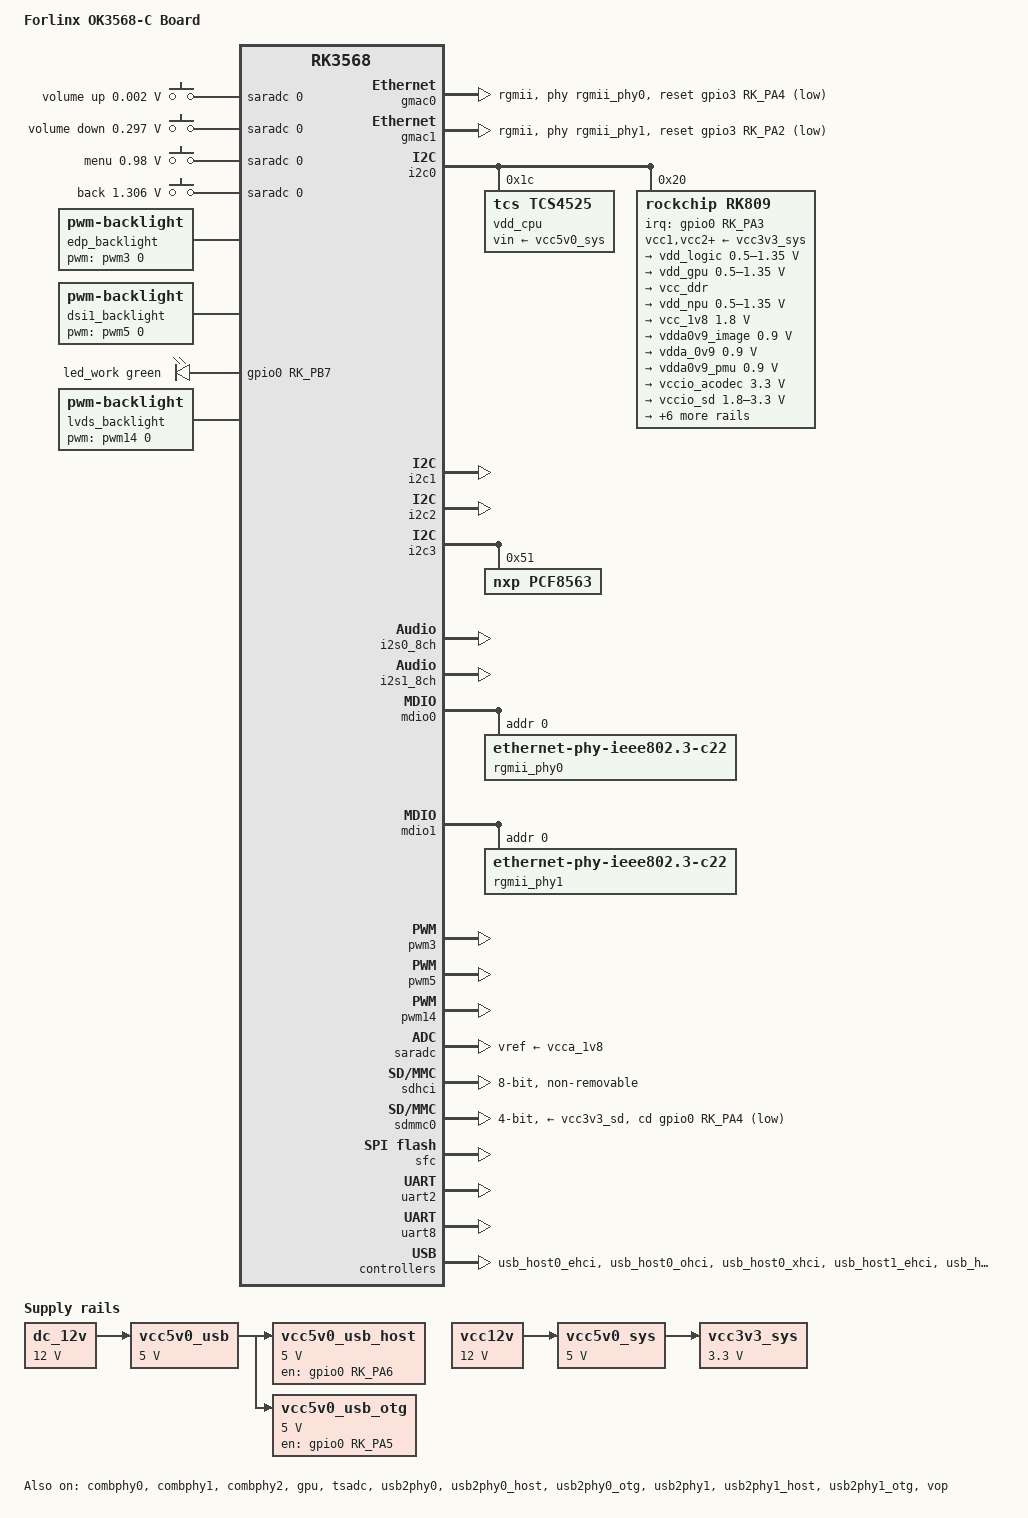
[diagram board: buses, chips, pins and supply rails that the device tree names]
// SPDX-License-Identifier: (GPL-2.0+ OR MIT)
/*
 * Device Tree file for Forlinx OK3568-C Board
 *
 * Based on rk3568-evb1-v10.dts
 */

/dts-v1/;

#include <dt-bindings/gpio/gpio.h>
#include <dt-bindings/input/linux-event-codes.h>
#include <dt-bindings/leds/common.h>
#include <dt-bindings/pinctrl/rockchip.h>
#include <dt-bindings/soc/rockchip,vop2.h>
#include "rk3568.dtsi"

/ {
	model = "Forlinx OK3568-C Board";
	compatible = "forlinx,ok3568", "rockchip,rk3568";

	aliases {
		ethernet0 = &gmac0;
		ethernet1 = &gmac1;
		mmc0 = &sdhci;
		serial2 = &uart2;
	};

	chosen: chosen {
		stdout-path = "serial2:115200n8";
	};

	adc_keys: adc-keys {
		compatible = "adc-keys";
		io-channels = <&saradc 0>;
		io-channel-names = "buttons";
		keyup-threshold-microvolt = <1800000>;
		poll-interval = <100>;

		vol-up-key {
			label = "volume up";
			linux,code = <KEY_VOLUMEUP>;
			press-threshold-microvolt = <1750>;
		};

		vol-down-key {
			label = "volume down";
			linux,code = <KEY_VOLUMEDOWN>;
			press-threshold-microvolt = <297500>;
		};

		menu-key {
			label = "menu";
			linux,code = <KEY_MENU>;
			press-threshold-microvolt = <980000>;
		};

		back-key {
			label = "back";
			linux,code = <KEY_BACK>;
			press-threshold-microvolt = <1305500>;
		};
	};

	dc_12v: regulator-dc-12v {
		compatible = "regulator-fixed";
		regulator-name = "dc_12v";
		regulator-always-on;
		regulator-boot-on;
		regulator-min-microvolt = <12000000>;
		regulator-max-microvolt = <12000000>;
	};

	edp_backlight: edp-backlight {
		compatible = "pwm-backlight";
		pwms = <&pwm3 0 20000 0>;
		brightness-levels = <0 20 20 21 21 22 22 23
				     23 24 24 25 25 26 26 27
				     27 28 28 29 29 30 30 31
				     31 32 32 33 33 34 34 35
				     35 36 36 37 37 38 38 39
				     40 41 42 43 44 45 46 47
				     48 49 50 51 52 53 54 55
				     56 57 58 59 60 61 62 63
				     64 65 66 67 68 69 70 71
				     72 73 74 75 76 77 78 79
				     80 81 82 83 84 85 86 87
				     88 89 90 91 92 93 94 95
				     96 97 98 99 100 101 102 103
				     104 105 106 107 108 109 110 111
				     112 113 114 115 116 117 118 119
				     120 121 122 123 124 125 126 127
				     128 129 130 131 132 133 134 135
				     136 137 138 139 140 141 142 143
				     144 145 146 147 148 149 150 151
				     152 153 154 155 156 157 158 159
				     160 161 162 163 164 165 166 167
				     168 169 170 171 172 173 174 175
				     176 177 178 179 180 181 182 183
				     184 185 186 187 188 189 190 191
				     192 193 194 195 196 197 198 199
				     200 201 202 203 204 205 206 207
				     208 209 210 211 212 213 214 215
				     216 217 218 219 220 221 222 223
				     224 225 226 227 228 229 230 231
				     232 233 234 235 236 237 238 239
				     240 241 242 243 244 245 246 247
				     248 249 250 251 252 253 254 255>;
		default-brightness-level = <200>;
	};

	dsi1_backlight: dsi1-backlight {
		compatible = "pwm-backlight";
		pwms = <&pwm5 0 20000 0>;
		brightness-levels = <0 20 20 21 21 22 22 23
				     23 24 24 25 25 26 26 27
				     27 28 28 29 29 30 30 31
				     31 32 32 33 33 34 34 35
				     35 36 36 37 37 38 38 39
				     40 41 42 43 44 45 46 47
				     48 49 50 51 52 53 54 55
				     56 57 58 59 60 61 62 63
				     64 65 66 67 68 69 70 71
				     72 73 74 75 76 77 78 79
				     80 81 82 83 84 85 86 87
				     88 89 90 91 92 93 94 95
				     96 97 98 99 100 101 102 103
				     104 105 106 107 108 109 110 111
				     112 113 114 115 116 117 118 119
				     120 121 122 123 124 125 126 127
				     128 129 130 131 132 133 134 135
				     136 137 138 139 140 141 142 143
				     144 145 146 147 148 149 150 151
				     152 153 154 155 156 157 158 159
				     160 161 162 163 164 165 166 167
				     168 169 170 171 172 173 174 175
				     176 177 178 179 180 181 182 183
				     184 185 186 187 188 189 190 191
				     192 193 194 195 196 197 198 199
				     200 201 202 203 204 205 206 207
				     208 209 210 211 212 213 214 215
				     216 217 218 219 220 221 222 223
				     224 225 226 227 228 229 230 231
				     232 233 234 235 236 237 238 239
				     240 241 242 243 244 245 246 247
				     248 249 250 251 252 253 254 255>;
		default-brightness-level = <200>;
	};

	leds {
		compatible = "gpio-leds";

		led_work: led-0 {
			gpios = <&gpio0 RK_PB7 GPIO_ACTIVE_HIGH>;
			function = LED_FUNCTION_HEARTBEAT;
			color = <LED_COLOR_ID_GREEN>;
			linux,default-trigger = "heartbeat";
			pinctrl-names = "default";
			pinctrl-0 = <&led_work_en>;
		};
	};

	lvds_backlight: lvds-backlight {
		compatible = "pwm-backlight";
		pwms = <&pwm14 0 20000 0>;
		brightness-levels = <0 20 20 21 21 22 22 23
				     23 24 24 25 25 26 26 27
				     27 28 28 29 29 30 30 31
				     31 32 32 33 33 34 34 35
				     35 36 36 37 37 38 38 39
				     40 41 42 43 44 45 46 47
				     48 49 50 51 52 53 54 55
				     56 57 58 59 60 61 62 63
				     64 65 66 67 68 69 70 71
				     72 73 74 75 76 77 78 79
				     80 81 82 83 84 85 86 87
				     88 89 90 91 92 93 94 95
				     96 97 98 99 100 101 102 103
				     104 105 106 107 108 109 110 111
				     112 113 114 115 116 117 118 119
				     120 121 122 123 124 125 126 127
				     128 129 130 131 132 133 134 135
				     136 137 138 139 140 141 142 143
				     144 145 146 147 148 149 150 151
				     152 153 154 155 156 157 158 159
				     160 161 162 163 164 165 166 167
				     168 169 170 171 172 173 174 175
				     176 177 178 179 180 181 182 183
				     184 185 186 187 188 189 190 191
				     192 193 194 195 196 197 198 199
				     200 201 202 203 204 205 206 207
				     208 209 210 211 212 213 214 215
				     216 217 218 219 220 221 222 223
				     224 225 226 227 228 229 230 231
				     232 233 234 235 236 237 238 239
				     240 241 242 243 244 245 246 247
				     248 249 250 251 252 253 254 255>;
		default-brightness-level = <200>;
	};

	rk809-sound {
		compatible = "simple-audio-card";
		simple-audio-card,format = "i2s";
		simple-audio-card,name = "Analog RK809";
		simple-audio-card,mclk-fs = <256>;

		simple-audio-card,cpu {
			sound-dai = <&i2s1_8ch>;
		};
		simple-audio-card,codec {
			sound-dai = <&rk809>;
		};
	};

	vcc12v: regulator-vcc12v {
		compatible = "regulator-fixed";
		regulator-name = "vcc12v";
		regulator-always-on;
		regulator-boot-on;
		regulator-min-microvolt = <12000000>;
		regulator-max-microvolt = <12000000>;
	};

	vcc3v3_sys: regulator-vcc3v3-sys {
		compatible = "regulator-fixed";
		regulator-name = "vcc3v3_sys";
		regulator-always-on;
		regulator-boot-on;
		regulator-min-microvolt = <3300000>;
		regulator-max-microvolt = <3300000>;
		vin-supply = <&vcc5v0_sys>;
	};

	vcc5v0_sys: regulator-vcc5v0-sys {
		compatible = "regulator-fixed";
		regulator-name = "vcc5v0_sys";
		regulator-always-on;
		regulator-boot-on;
		regulator-min-microvolt = <5000000>;
		regulator-max-microvolt = <5000000>;
		vin-supply = <&vcc12v>;
	};

	vcc5v0_usb: regulator-vcc5v0-usb {
		compatible = "regulator-fixed";
		regulator-name = "vcc5v0_usb";
		regulator-always-on;
		regulator-boot-on;
		regulator-min-microvolt = <5000000>;
		regulator-max-microvolt = <5000000>;
		vin-supply = <&dc_12v>;
	};

	vcc5v0_usb_host: regulator-vcc5v0-usb-host {
		compatible = "regulator-fixed";
		enable-active-high;
		gpio = <&gpio0 RK_PA6 GPIO_ACTIVE_HIGH>;
		pinctrl-names = "default";
		pinctrl-0 = <&vcc5v0_usb_host_en>;
		regulator-name = "vcc5v0_usb_host";
		regulator-min-microvolt = <5000000>;
		regulator-max-microvolt = <5000000>;
		vin-supply = <&vcc5v0_usb>;
	};

	vcc5v0_usb_otg: regulator-vcc5v0-usb-otg {
		compatible = "regulator-fixed";
		enable-active-high;
		gpio = <&gpio0 RK_PA5 GPIO_ACTIVE_HIGH>;
		pinctrl-names = "default";
		pinctrl-0 = <&vcc5v0_usb_otg_en>;
		regulator-name = "vcc5v0_usb_otg";
		regulator-min-microvolt = <5000000>;
		regulator-max-microvolt = <5000000>;
		vin-supply = <&vcc5v0_usb>;
	};
};

&combphy0 {
	status = "okay";
};

&combphy1 {
	status = "okay";
};

&combphy2 {
	status = "okay";
};

&cpu0 {
	cpu-supply = <&vdd_cpu>;
};

&cpu1 {
	cpu-supply = <&vdd_cpu>;
};

&cpu2 {
	cpu-supply = <&vdd_cpu>;
};

&cpu3 {
	cpu-supply = <&vdd_cpu>;
};

&gmac0 {
	assigned-clocks = <&cru SCLK_GMAC0_RX_TX>, <&cru SCLK_GMAC0>;
	assigned-clock-parents = <&cru SCLK_GMAC0_RGMII_SPEED>;
	assigned-clock-rates = <0>, <125000000>;
	clock_in_out = "output";
	phy-handle = <&rgmii_phy0>;
	phy-mode = "rgmii";
	pinctrl-names = "default";
	pinctrl-0 = <&gmac0_miim
		     &gmac0_tx_bus2
		     &gmac0_rx_bus2
		     &gmac0_rgmii_clk
		     &gmac0_rgmii_bus>;
	snps,reset-gpio = <&gpio3 RK_PA4 GPIO_ACTIVE_LOW>;
	snps,reset-active-low;
	snps,reset-delays-us = <0 20000 100000>;
	tx_delay = <0x2f>;
	rx_delay = <0x00>;
	status = "okay";
};

&gmac1 {
	assigned-clocks = <&cru SCLK_GMAC1_RX_TX>, <&cru SCLK_GMAC1>;
	assigned-clock-parents = <&cru SCLK_GMAC1_RGMII_SPEED>;
	assigned-clock-rates = <0>, <125000000>;
	clock_in_out = "output";
	phy-handle = <&rgmii_phy1>;
	phy-mode = "rgmii";
	pinctrl-names = "default";
	pinctrl-0 = <&gmac1m1_miim
		     &gmac1m1_tx_bus2
		     &gmac1m1_rx_bus2
		     &gmac1m1_rgmii_clk
		     &gmac1m1_rgmii_bus>;
	snps,reset-gpio = <&gpio3 RK_PA2 GPIO_ACTIVE_LOW>;
	snps,reset-active-low;
	snps,reset-delays-us = <0 20000 100000>;
	tx_delay = <0x35>;
	rx_delay = <0x00>;
	status = "okay";
};

&gpu {
	mali-supply = <&vdd_gpu>;
	status = "okay";
};

&hdmi {
	avdd-0v9-supply = <&vdda0v9_image>;
	avdd-1v8-supply = <&vcca1v8_image>;
	status = "disabled";
};

&hdmi_in {
	hdmi_in_vp0: endpoint {
		remote-endpoint = <&vp0_out_hdmi>;
	};
};

&hdmi_sound {
	status = "disabled";
};

&i2c0 {
	status = "okay";

	vdd_cpu: regulator@1c {
		compatible = "tcs,tcs4525";
		reg = <0x1c>;
		fcs,suspend-voltage-selector = <1>;
		regulator-name = "vdd_cpu";
		regulator-always-on;
		regulator-boot-on;
		regulator-min-microvolt = <712500>;
		regulator-max-microvolt = <1390000>;
		regulator-ramp-delay = <2300>;
		vin-supply = <&vcc5v0_sys>;

		regulator-state-mem {
			regulator-off-in-suspend;
		};
	};

	rk809: pmic@20 {
		compatible = "rockchip,rk809";
		reg = <0x20>;
		interrupt-parent = <&gpio0>;
		interrupts = <RK_PA3 IRQ_TYPE_LEVEL_LOW>;
		assigned-clocks = <&cru I2S1_MCLKOUT_TX>;
		assigned-clock-parents = <&cru CLK_I2S1_8CH_TX>;
		#clock-cells = <1>;
		clock-names = "mclk";
		clocks = <&cru I2S1_MCLKOUT_TX>;
		pinctrl-names = "default";
		pinctrl-0 = <&pmic_int>, <&i2s1m0_mclk>;
		rockchip,system-power-controller;
		#sound-dai-cells = <0>;
		vcc1-supply = <&vcc3v3_sys>;
		vcc2-supply = <&vcc3v3_sys>;
		vcc3-supply = <&vcc3v3_sys>;
		vcc4-supply = <&vcc3v3_sys>;
		vcc5-supply = <&vcc3v3_sys>;
		vcc6-supply = <&vcc3v3_sys>;
		vcc7-supply = <&vcc3v3_sys>;
		vcc8-supply = <&vcc3v3_sys>;
		vcc9-supply = <&vcc3v3_sys>;
		wakeup-source;

		regulators {
			vdd_logic: DCDC_REG1 {
				regulator-name = "vdd_logic";
				regulator-always-on;
				regulator-boot-on;
				regulator-initial-mode = <0x2>;
				regulator-min-microvolt = <500000>;
				regulator-max-microvolt = <1350000>;
				regulator-ramp-delay = <6001>;

				regulator-state-mem {
					regulator-off-in-suspend;
				};
			};

			vdd_gpu: DCDC_REG2 {
				regulator-name = "vdd_gpu";
				regulator-always-on;
				regulator-initial-mode = <0x2>;
				regulator-min-microvolt = <500000>;
				regulator-max-microvolt = <1350000>;
				regulator-ramp-delay = <6001>;

				regulator-state-mem {
					regulator-off-in-suspend;
				};
			};

			vcc_ddr: DCDC_REG3 {
				regulator-name = "vcc_ddr";
				regulator-always-on;
				regulator-boot-on;
				regulator-initial-mode = <0x2>;

				regulator-state-mem {
					regulator-on-in-suspend;
				};
			};

			vdd_npu: DCDC_REG4 {
				regulator-name = "vdd_npu";
				regulator-initial-mode = <0x2>;
				regulator-min-microvolt = <500000>;
				regulator-max-microvolt = <1350000>;
				regulator-ramp-delay = <6001>;

				regulator-state-mem {
					regulator-off-in-suspend;
				};
			};

			vcc_1v8: DCDC_REG5 {
				regulator-name = "vcc_1v8";
				regulator-always-on;
				regulator-boot-on;
				regulator-min-microvolt = <1800000>;
				regulator-max-microvolt = <1800000>;

				regulator-state-mem {
					regulator-off-in-suspend;
				};
			};

			vdda0v9_image: LDO_REG1 {
				regulator-name = "vdda0v9_image";
				regulator-min-microvolt = <900000>;
				regulator-max-microvolt = <900000>;

				regulator-state-mem {
					regulator-off-in-suspend;
				};
			};

			vdda_0v9: LDO_REG2 {
				regulator-name = "vdda_0v9";
				regulator-always-on;
				regulator-boot-on;
				regulator-min-microvolt = <900000>;
				regulator-max-microvolt = <900000>;

				regulator-state-mem {
					regulator-off-in-suspend;
				};
			};

			vdda0v9_pmu: LDO_REG3 {
				regulator-name = "vdda0v9_pmu";
				regulator-always-on;
				regulator-boot-on;
				regulator-min-microvolt = <900000>;
				regulator-max-microvolt = <900000>;

				regulator-state-mem {
					regulator-on-in-suspend;
					regulator-suspend-microvolt = <900000>;
				};
			};

			vccio_acodec: LDO_REG4 {
				regulator-name = "vccio_acodec";
				regulator-always-on;
				regulator-min-microvolt = <3300000>;
				regulator-max-microvolt = <3300000>;

				regulator-state-mem {
					regulator-off-in-suspend;
				};
			};

			vccio_sd: LDO_REG5 {
				regulator-name = "vccio_sd";
				regulator-min-microvolt = <1800000>;
				regulator-max-microvolt = <3300000>;

				regulator-state-mem {
					regulator-off-in-suspend;
				};
			};

			vcc3v3_pmu: LDO_REG6 {
				regulator-name = "vcc3v3_pmu";
				regulator-always-on;
				regulator-boot-on;
				regulator-min-microvolt = <3300000>;
				regulator-max-microvolt = <3300000>;

				regulator-state-mem {
					regulator-on-in-suspend;
					regulator-suspend-microvolt = <3300000>;
				};
			};

			vcca_1v8: LDO_REG7 {
				regulator-name = "vcca_1v8";
				regulator-always-on;
				regulator-boot-on;
				regulator-min-microvolt = <1800000>;
				regulator-max-microvolt = <1800000>;

				regulator-state-mem {
					regulator-off-in-suspend;
				};
			};

			vcca1v8_pmu: LDO_REG8 {
				regulator-name = "vcca1v8_pmu";
				regulator-always-on;
				regulator-boot-on;
				regulator-min-microvolt = <1800000>;
				regulator-max-microvolt = <1800000>;

				regulator-state-mem {
					regulator-on-in-suspend;
					regulator-suspend-microvolt = <1800000>;
				};
			};

			vcca1v8_image: LDO_REG9 {
				regulator-name = "vcca1v8_image";
				regulator-min-microvolt = <1800000>;
				regulator-max-microvolt = <1800000>;

				regulator-state-mem {
					regulator-off-in-suspend;
				};
			};

			vcc_3v3: SWITCH_REG1 {
				regulator-name = "vcc_3v3";
				regulator-always-on;
				regulator-boot-on;

				regulator-state-mem {
					regulator-off-in-suspend;
				};
			};

			vcc3v3_sd: SWITCH_REG2 {
				regulator-name = "vcc3v3_sd";

				regulator-state-mem {
					regulator-off-in-suspend;
				};
			};
		};

		codec {
			rockchip,mic-in-differential;
		};
	};
};

&i2c1 {
	status = "okay";
};

&i2c2 {
	status = "okay";
	pinctrl-names = "default";
	pinctrl-0 = <&i2c2m1_xfer>;
};

&i2c3 {
	status = "okay";

	pcf8563: rtc@51 {
		compatible = "nxp,pcf8563";
		reg = <0x51>;
		#clock-cells = <0>;
	};
};

&i2s0_8ch {
	status = "okay";
};

&i2s1_8ch {
	rockchip,trcm-sync-tx-only;
	status = "okay";
};

&mdio0 {
	rgmii_phy0: ethernet-phy@0 {
		compatible = "ethernet-phy-ieee802.3-c22";
		reg = <0x0>;
		clocks = <&cru CLK_MAC0_OUT>;
	};
};

&mdio1 {
	rgmii_phy1: ethernet-phy@0 {
		compatible = "ethernet-phy-ieee802.3-c22";
		reg = <0x0>;
		clocks = <&cru CLK_MAC1_OUT>;
	};
};

&pinctrl {
	leds {
		led_work_en: led_work_en {
			rockchip,pins = <0 RK_PB7 RK_FUNC_GPIO &pcfg_pull_none>;
		};
	};

	pmic {
		pmic_int: pmic_int {
			rockchip,pins =
				<0 RK_PA3 RK_FUNC_GPIO &pcfg_pull_up>;
		};
	};

	usb {
		vcc5v0_usb_host_en: vcc5v0_usb_host_en {
			rockchip,pins = <0 RK_PA6 RK_FUNC_GPIO &pcfg_pull_none>;
		};
		vcc5v0_usb_otg_en: vcc5v0_usb_otg_en {
			rockchip,pins = <0 RK_PA5 RK_FUNC_GPIO &pcfg_pull_none>;
		};
	};
};

&pmu_io_domains {
	pmuio1-supply = <&vcc3v3_pmu>;
	pmuio2-supply = <&vcc3v3_pmu>;
	vccio1-supply = <&vccio_acodec>;
	vccio3-supply = <&vccio_sd>;
	vccio4-supply = <&vcc_1v8>;
	vccio5-supply = <&vcc_3v3>;
	vccio6-supply = <&vcc_1v8>;
	vccio7-supply = <&vcc_3v3>;
	status = "okay";
};

&pwm3 {
	status = "okay";
};

&pwm5 {
	status = "okay";
};

&pwm14 {
	status = "okay";
};

&saradc {
	vref-supply = <&vcca_1v8>;
	status = "okay";
};

&sdhci {
	bus-width = <8>;
	max-frequency = <200000000>;
	non-removable;
	pinctrl-names = "default";
	pinctrl-0 = <&emmc_bus8 &emmc_clk &emmc_cmd &emmc_datastrobe>;
	status = "okay";
};

&sdmmc0 {
	bus-width = <4>;
	cap-sd-highspeed;
	cd-gpios = <&gpio0 RK_PA4 GPIO_ACTIVE_LOW>;
	disable-wp;
	pinctrl-names = "default";
	pinctrl-0 = <&sdmmc0_bus4 &sdmmc0_clk &sdmmc0_cmd &sdmmc0_det>;
	sd-uhs-sdr104;
	vmmc-supply = <&vcc3v3_sd>;
	vqmmc-supply = <&vccio_sd>;
	status = "okay";
};

&sfc {
	status = "okay";
	pinctrl-names = "default";
	pinctrl-0 = <&fspi_pins>;
};

&tsadc {
	rockchip,hw-tshut-mode = <1>;
	rockchip,hw-tshut-polarity = <0>;
	status = "okay";
};

&uart2 {
	status = "okay";
};

&uart8 {
	status = "okay";
	pinctrl-names = "default";
	pinctrl-0 = <&uart8m0_xfer &uart8m0_ctsn &uart8m0_rtsn>;
};

&usb_host0_ehci {
	status = "okay";
};

&usb_host0_ohci {
	status = "okay";
};

&usb_host0_xhci {
	extcon = <&usb2phy0>;
	status = "okay";
};

&usb_host1_ehci {
	status = "okay";
};

&usb_host1_ohci {
	status = "okay";
};

&usb_host1_xhci {
	status = "okay";
};

&usb2phy0 {
	status = "okay";
};

&usb2phy0_host {
	phy-supply = <&vcc5v0_usb_host>;
	status = "okay";
};

&usb2phy0_otg {
	phy-supply = <&vcc5v0_usb_otg>;
	status = "okay";
};

&usb2phy1 {
	status = "okay";
};

&usb2phy1_host {
	phy-supply = <&vcc5v0_usb_host>;
	status = "okay";
};

&usb2phy1_otg {
	phy-supply = <&vcc5v0_usb_host>;
	status = "okay";
};

&vop {
	assigned-clocks = <&cru DCLK_VOP0>, <&cru DCLK_VOP1>;
	assigned-clock-parents = <&pmucru PLL_HPLL>, <&cru PLL_VPLL>;
	status = "okay";
};

&vop_mmu {
	status = "okay";
};

&vp0 {
	vp0_out_hdmi: endpoint@ROCKCHIP_VOP2_EP_HDMI0 {
		reg = <ROCKCHIP_VOP2_EP_HDMI0>;
		remote-endpoint = <&hdmi_in_vp0>;
	};
};
